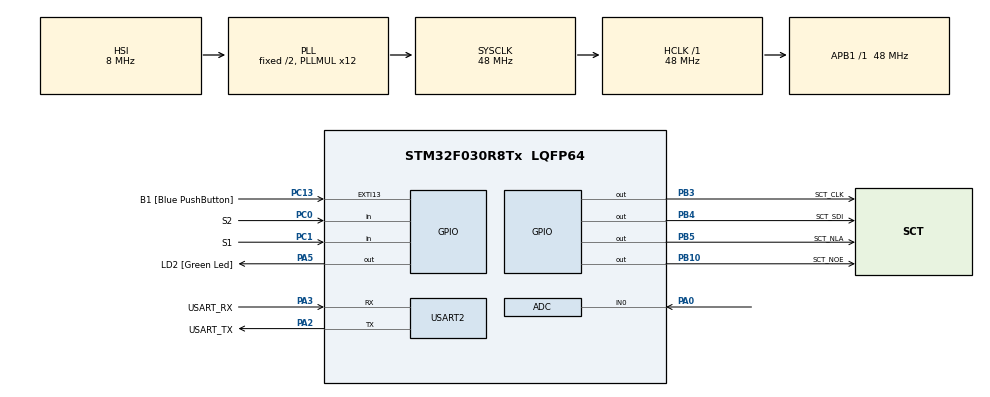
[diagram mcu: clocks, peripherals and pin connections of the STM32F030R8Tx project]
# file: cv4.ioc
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ADC.ContinuousConvMode=ENABLE
ADC.Overrun=ADC_OVR_DATA_OVERWRITTEN
ADC.SamplingTime=ADC_SAMPLETIME_239CYCLES_5
Mcu.Family=STM32F0
Mcu.Name=STM32F030R8Tx
Mcu.Package=LQFP64
NVIC.ADC1_IRQn=true\:0\:0\:false\:false\:true\:true\:true\:true
PA0.Mode=IN0
PA0.Signal=ADC_IN0
PA13.GPIO_Label=TMS
PA13.Mode=Serial_Wire
PA13.Signal=SYS_SWDIO
PA14.GPIO_Label=TCK
PA14.Mode=Serial_Wire
PA14.Signal=SYS_SWCLK
PA2.GPIO_Label=USART_TX
PA2.GPIO_Mode=GPIO_MODE_AF_PP
PA2.GPIO_PuPd=GPIO_NOPULL
PA2.GPIO_Speed=GPIO_SPEED_FREQ_LOW
PA2.Mode=Asynchronous
PA2.Signal=USART2_TX
PA3.GPIO_Label=USART_RX
PA3.GPIO_Mode=GPIO_MODE_AF_PP
PA3.GPIO_PuPd=GPIO_NOPULL
PA3.GPIO_Speed=GPIO_SPEED_FREQ_LOW
PA3.Mode=Asynchronous
PA3.Signal=USART2_RX
PA5.GPIO_Label=LD2 [Green Led]
PA5.GPIO_Mode=GPIO_MODE_OUTPUT_PP
PA5.GPIO_PuPd=GPIO_NOPULL
PA5.GPIO_Speed=GPIO_SPEED_FREQ_LOW
PA5.Signal=GPIO_Output
PB10.GPIO_Label=SCT_NOE
PB10.Signal=GPIO_Output
PB3.GPIO_Label=SCT_CLK
PB3.Signal=GPIO_Output
PB4.GPIO_Label=SCT_SDI
PB4.Signal=GPIO_Output
PB5.GPIO_Label=SCT_NLA
PB5.Signal=GPIO_Output
PC0.GPIO_Label=S2
PC0.GPIO_PuPd=GPIO_PULLUP
PC0.Signal=GPIO_Input
PC1.GPIO_Label=S1
PC1.GPIO_PuPd=GPIO_PULLUP
PC1.Signal=GPIO_Input
PC13.GPIO_Label=B1 [Blue PushButton]
PC13.GPIO_ModeDefaultEXTI=GPIO_MODE_IT_FALLING
PC13.Signal=GPXTI13
PC14-OSC32_IN.Mode=LSE-External-Oscillator
PC14-OSC32_IN.Signal=RCC_OSC32_IN
PC15-OSC32_OUT.Mode=LSE-External-Oscillator
PC15-OSC32_OUT.Signal=RCC_OSC32_OUT
PF0-OSC_IN.Mode=HSE-External-Clock-Source
PF0-OSC_IN.Signal=RCC_OSC_IN
PF1-OSC_OUT.Signal=RCC_OSC_OUT
ProjectManager.HeapSize=0x200
ProjectManager.StackSize=0x400
ProjectManager.TargetToolchain=STM32CubeIDE
RCC.AHBFreq_Value=48000000
RCC.APB1Freq_Value=48000000
RCC.APB1TimFreq_Value=48000000
RCC.HCLKFreq_Value=48000000
RCC.PLLMUL=RCC_PLL_MUL12
RCC.SYSCLKFreq_VALUE=48000000
RCC.SYSCLKSource=RCC_SYSCLKSOURCE_PLLCLK
USART2.VirtualMode-Asynchronous=VM_ASYNC
VP_ADC_TempSens_Input.Mode=IN-TempSens
VP_ADC_Vref_Input.Mode=IN-Vrefint
board=NUCLEO-F030R8

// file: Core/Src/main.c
/* USER CODE BEGIN Header */
/**
  ******************************************************************************
  * @file           : main.c
  * @brief          : Main program body
  ******************************************************************************
  * @attention
  *
  * Copyright (c) 2024 STMicroelectronics.
  * All rights reserved.
  *
  * This software is licensed under terms that can be found in the LICENSE file
  * in the root directory of this software component.
  * If no LICENSE file comes with this software, it is provided AS-IS.
  *
  ******************************************************************************
  */
/* USER CODE END Header */
#include "main.h"

/* USER CODE BEGIN Includes */
#include "sct.h"
/* USER CODE END Includes */

/* USER CODE BEGIN PD */

/* Temperature sensor calibration value address */
#define TEMP110_CAL_ADDR ((uint16_t*) ((uint32_t) 0x1FFFF7C2))
#define TEMP30_CAL_ADDR ((uint16_t*) ((uint32_t) 0x1FFFF7B8))
/* Internal voltage reference calibration value address */
#define VREFINT_CAL_ADDR ((uint16_t*) ((uint32_t) 0x1FFFF7BA))
#define LED_TIME 1000

/* USER CODE END PD */

ADC_HandleTypeDef hadc;

UART_HandleTypeDef huart2;

/* USER CODE BEGIN PV */
static volatile uint32_t raw_pot=0;
static volatile uint32_t voltage;
static volatile int32_t temperature;
/* USER CODE END PV */

void SystemClock_Config(void);
static void MX_GPIO_Init(void);
static void MX_USART2_UART_Init(void);
static void MX_ADC_Init(void);

/* USER CODE BEGIN 0 */
void HAL_ADC_ConvCpltCallback(ADC_HandleTypeDef* hadc) //ADC cte vsechny piny v sekvencich (porad dokola, dle modu v Cube) - callback se vola hned s prvni konverzi - prvni v sekvenci je potenciometr, pak teplomer, pak napeti
{ //kod zde by mel byt co nejkratsi
	static uint8_t channel;
	static uint32_t avg_pot;

	//raw_pot = HAL_ADC_GetValue(hadc); //simple ADC reading
	switch(channel)
	{
		case 0:
			raw_pot = avg_pot >> 12; //ADC_Q = 12 - can vary - defines
			avg_pot -= raw_pot;
			avg_pot += HAL_ADC_GetValue(hadc);
			break;
		case 1:
			static uint32_t raw_temp;
			raw_temp=HAL_ADC_GetValue(hadc);
			temperature = (raw_temp - (int32_t)(*TEMP30_CAL_ADDR));
			temperature = temperature * (int32_t)(110 - 30);
			temperature = temperature / (int32_t)(*TEMP110_CAL_ADDR - *TEMP30_CAL_ADDR);
			temperature = temperature + 30;
			break;
		case 2:
			static uint32_t raw_volt;
			raw_volt = HAL_ADC_GetValue(hadc); //simple ADC reading
			voltage = 330 * (*VREFINT_CAL_ADDR) / raw_volt;
			break;
	}

	if (__HAL_ADC_GET_FLAG(hadc, ADC_FLAG_EOS)) channel = 0; //Pokud je dokoncena konverze sekvence vsech ADC kanalu (EOS), resetuje se ADC na 0
	else channel++;
}

/* USER CODE END 0 */

int main(void)
{

  /* MCU Configuration--------------------------------------------------------*/

  /* Reset of all peripherals, Initializes the Flash interface and the Systick. */
  HAL_Init();

  /* Configure the system clock */
  SystemClock_Config();

  /* Initialize all configured peripherals */
  MX_GPIO_Init();
  MX_USART2_UART_Init();
  MX_ADC_Init();
  /* USER CODE BEGIN 2 */
  sct_init();
  HAL_Delay(1000);

  //Calibrates ADC
  HAL_ADCEx_Calibration_Start(&hadc);

  HAL_ADC_Start_IT(&hadc);
  /* USER CODE END 2 */

  /* Infinite loop */
  /* USER CODE BEGIN WHILE */
  while (1) //MONO -> vsak me to nejde na rotacnim enkoderi
  {
    /* USER CODE END WHILE */

    /* USER CODE BEGIN 3 */
	  static enum { SHOW_POT, SHOW_VOLT, SHOW_TEMP } state = SHOW_POT;
	  //state = SHOW_POT;
	  static uint32_t off_time=0;

	  if(HAL_GPIO_ReadPin(S1_GPIO_Port, S1_Pin)==0)
	  {
		  state=SHOW_VOLT;
		  off_time = HAL_GetTick() + LED_TIME;
	  }
	  if(HAL_GPIO_ReadPin(S2_GPIO_Port, S2_Pin)==0)
	  {
		  state=SHOW_TEMP;
		  off_time = HAL_GetTick() + LED_TIME;
	  }
	  switch(state)
	  {
		case SHOW_POT: //do solo funkce
			//max trimmer value = 4095; min trimmer value = 1; converting to interval <0;500>
			sct_value((uint32_t)raw_pot*500.9/4095,raw_pot/505); //*9/4095 for led
			HAL_Delay(50);
		break;
		case SHOW_VOLT:
			sct_value(temperature,0);
			if (HAL_GetTick() > off_time)
			{
				state = SHOW_POT;
			}

		break;
	    case SHOW_TEMP:
	    	sct_value(voltage,0);
	    	if (HAL_GetTick() > off_time)
	    	{
	    		state = SHOW_POT;
	    	}
	    break;
	  }
  }
  /* USER CODE END 3 */
}

void SystemClock_Config(void)
{
  RCC_OscInitTypeDef RCC_OscInitStruct = {0};
  RCC_ClkInitTypeDef RCC_ClkInitStruct = {0};

  /** Initializes the RCC Oscillators according to the specified parameters
  * in the RCC_OscInitTypeDef structure.
  */
  RCC_OscInitStruct.OscillatorType = RCC_OSCILLATORTYPE_HSI|RCC_OSCILLATORTYPE_HSI14;
  RCC_OscInitStruct.HSIState = RCC_HSI_ON;
  RCC_OscInitStruct.HSI14State = RCC_HSI14_ON;
  RCC_OscInitStruct.HSICalibrationValue = RCC_HSICALIBRATION_DEFAULT;
  RCC_OscInitStruct.HSI14CalibrationValue = 16;
  RCC_OscInitStruct.PLL.PLLState = RCC_PLL_ON;
  RCC_OscInitStruct.PLL.PLLSource = RCC_PLLSOURCE_HSI;
  RCC_OscInitStruct.PLL.PLLMUL = RCC_PLL_MUL12;
  RCC_OscInitStruct.PLL.PREDIV = RCC_PREDIV_DIV1;
  if (HAL_RCC_OscConfig(&RCC_OscInitStruct) != HAL_OK)
  {
    Error_Handler();
  }

  /** Initializes the CPU, AHB and APB buses clocks
  */
  RCC_ClkInitStruct.ClockType = RCC_CLOCKTYPE_HCLK|RCC_CLOCKTYPE_SYSCLK
                              |RCC_CLOCKTYPE_PCLK1;
  RCC_ClkInitStruct.SYSCLKSource = RCC_SYSCLKSOURCE_PLLCLK;
  RCC_ClkInitStruct.AHBCLKDivider = RCC_SYSCLK_DIV1;
  RCC_ClkInitStruct.APB1CLKDivider = RCC_HCLK_DIV1;

  if (HAL_RCC_ClockConfig(&RCC_ClkInitStruct, FLASH_LATENCY_1) != HAL_OK)
  {
    Error_Handler();
  }
}

static void MX_ADC_Init(void)
{

  ADC_ChannelConfTypeDef sConfig = {0};

  /** Configure the global features of the ADC (Clock, Resolution, Data Alignment and number of conversion)
  */
  hadc.Instance = ADC1;
  hadc.Init.ClockPrescaler = ADC_CLOCK_ASYNC_DIV1;
  hadc.Init.Resolution = ADC_RESOLUTION_12B;
  hadc.Init.DataAlign = ADC_DATAALIGN_RIGHT;
  hadc.Init.ScanConvMode = ADC_SCAN_DIRECTION_FORWARD;
  hadc.Init.EOCSelection = ADC_EOC_SINGLE_CONV;
  hadc.Init.LowPowerAutoWait = DISABLE;
  hadc.Init.LowPowerAutoPowerOff = DISABLE;
  hadc.Init.ContinuousConvMode = ENABLE;
  hadc.Init.DiscontinuousConvMode = DISABLE;
  hadc.Init.ExternalTrigConv = ADC_SOFTWARE_START;
  hadc.Init.ExternalTrigConvEdge = ADC_EXTERNALTRIGCONVEDGE_NONE;
  hadc.Init.DMAContinuousRequests = DISABLE;
  hadc.Init.Overrun = ADC_OVR_DATA_OVERWRITTEN;
  if (HAL_ADC_Init(&hadc) != HAL_OK)
  {
    Error_Handler();
  }

  /** Configure for the selected ADC regular channel to be converted.
  */
  sConfig.Channel = ADC_CHANNEL_0;
  sConfig.Rank = ADC_RANK_CHANNEL_NUMBER;
  sConfig.SamplingTime = ADC_SAMPLETIME_239CYCLES_5;
  if (HAL_ADC_ConfigChannel(&hadc, &sConfig) != HAL_OK)
  {
    Error_Handler();
  }

  /** Configure for the selected ADC regular channel to be converted.
  */
  sConfig.Channel = ADC_CHANNEL_TEMPSENSOR;
  if (HAL_ADC_ConfigChannel(&hadc, &sConfig) != HAL_OK)
  {
    Error_Handler();
  }

  /** Configure for the selected ADC regular channel to be converted.
  */
  sConfig.Channel = ADC_CHANNEL_VREFINT;
  if (HAL_ADC_ConfigChannel(&hadc, &sConfig) != HAL_OK)
  {
    Error_Handler();
  }

}

static void MX_USART2_UART_Init(void)
{

  huart2.Instance = USART2;
  huart2.Init.BaudRate = 38400;
  huart2.Init.WordLength = UART_WORDLENGTH_8B;
  huart2.Init.StopBits = UART_STOPBITS_1;
  huart2.Init.Parity = UART_PARITY_NONE;
  huart2.Init.Mode = UART_MODE_TX_RX;
  huart2.Init.HwFlowCtl = UART_HWCONTROL_NONE;
  huart2.Init.OverSampling = UART_OVERSAMPLING_16;
  huart2.Init.OneBitSampling = UART_ONE_BIT_SAMPLE_DISABLE;
  huart2.AdvancedInit.AdvFeatureInit = UART_ADVFEATURE_NO_INIT;
  if (HAL_UART_Init(&huart2) != HAL_OK)
  {
    Error_Handler();
  }

}

static void MX_GPIO_Init(void)
{
  GPIO_InitTypeDef GPIO_InitStruct = {0};

  /* GPIO Ports Clock Enable */
  __HAL_RCC_GPIOC_CLK_ENABLE();
  __HAL_RCC_GPIOF_CLK_ENABLE();
  __HAL_RCC_GPIOA_CLK_ENABLE();
  __HAL_RCC_GPIOB_CLK_ENABLE();

  /*Configure GPIO pin Output Level */
  HAL_GPIO_WritePin(LD2_GPIO_Port, LD2_Pin, GPIO_PIN_RESET);

  /*Configure GPIO pin Output Level */
  HAL_GPIO_WritePin(GPIOB, SCT_NOE_Pin|SCT_CLK_Pin|SCT_SDI_Pin|SCT_NLA_Pin, GPIO_PIN_RESET);

  /*Configure GPIO pin : B1_Pin */
  GPIO_InitStruct.Pin = B1_Pin;
  GPIO_InitStruct.Mode = GPIO_MODE_IT_FALLING;
  GPIO_InitStruct.Pull = GPIO_NOPULL;
  HAL_GPIO_Init(B1_GPIO_Port, &GPIO_InitStruct);

  /*Configure GPIO pins : S2_Pin S1_Pin */
  GPIO_InitStruct.Pin = S2_Pin|S1_Pin;
  GPIO_InitStruct.Mode = GPIO_MODE_INPUT;
  GPIO_InitStruct.Pull = GPIO_PULLUP;
  HAL_GPIO_Init(GPIOC, &GPIO_InitStruct);

  /*Configure GPIO pin : LD2_Pin */
  GPIO_InitStruct.Pin = LD2_Pin;
  GPIO_InitStruct.Mode = GPIO_MODE_OUTPUT_PP;
  GPIO_InitStruct.Pull = GPIO_NOPULL;
  GPIO_InitStruct.Speed = GPIO_SPEED_FREQ_LOW;
  HAL_GPIO_Init(LD2_GPIO_Port, &GPIO_InitStruct);

  /*Configure GPIO pins : SCT_NOE_Pin SCT_CLK_Pin SCT_SDI_Pin SCT_NLA_Pin */
  GPIO_InitStruct.Pin = SCT_NOE_Pin|SCT_CLK_Pin|SCT_SDI_Pin|SCT_NLA_Pin;
  GPIO_InitStruct.Mode = GPIO_MODE_OUTPUT_PP;
  GPIO_InitStruct.Pull = GPIO_NOPULL;
  GPIO_InitStruct.Speed = GPIO_SPEED_FREQ_LOW;
  HAL_GPIO_Init(GPIOB, &GPIO_InitStruct);

}

void Error_Handler(void)
{
  __disable_irq();
  while (1)
  {
  }
}
